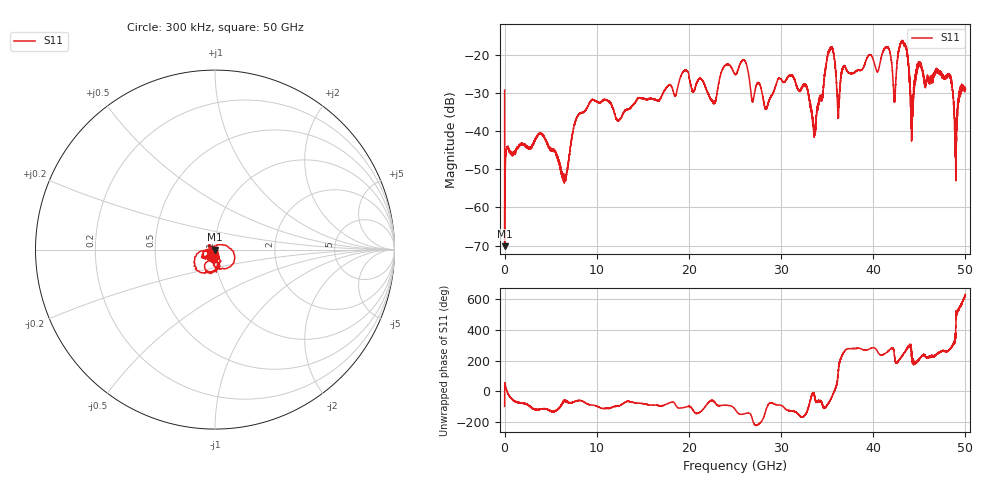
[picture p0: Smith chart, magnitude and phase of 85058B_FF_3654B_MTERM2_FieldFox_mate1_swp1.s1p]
!Created with skrf (http://scikit-rf.org).
# Hz S RI R 50.0
!freq ReS11 ImS11
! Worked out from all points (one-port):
!   10001 points, 300 kHz to 50 GHz, reference 50 ohm
!   lowest |S11| = -70.2 dB at 5.3 MHz (marker M1), VSWR 1.00, Z = 50 - j0.00331 ohm
!   |S11| at or under -10 dB: start of sweep to end of sweep
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300000  -0.00576 -0.0343
5299970  0.000308 -3.31e-05
2.552985e8  0.00609 0.000169
3.930276e9  -0.00436 -0.00844
6.250262e9  0.00047 -0.00269
9.380244e9  2.02e-05 -0.0254
1.250022e10  -0.00096 -0.0142
1.875019e10  -0.00972 -0.0346
1.968518e10  -0.0139 -0.0619
2.269016e10  0.00958 -0.021
2.382016e10  -0.00152 -0.0714
2.500015e10  -0.0264 -0.0498
2.603014e10  -0.0723 -0.0455
2.837013e10  -0.0103 -0.0167
3.125011e10  -0.0353 -0.0416
3.35951e10  0.00825 -0.00408
3.530509e10  0.0541 -0.1065
3.620508e10  -0.0128 0.0117
3.750008e10  0.00863 -0.0565
4.148005e10  -0.0352 -0.1222
4.230005e10  -0.015 -0.0186
4.301004e10  -0.1083 -0.0927
4.375004e10  0.0298 -0.089
4.422503e10  -0.00771 -0.0136
4.499003e10  -0.0709 -0.0349
4.824501e10  -0.00256 -0.0528
4.896001e10  0.00134 0.00336
5e10  0.000704 -0.0351
